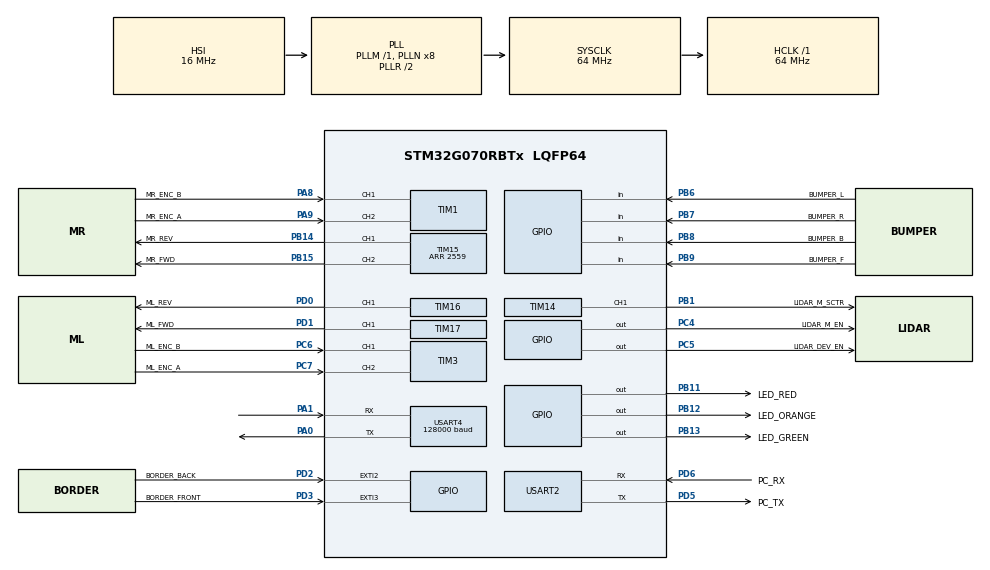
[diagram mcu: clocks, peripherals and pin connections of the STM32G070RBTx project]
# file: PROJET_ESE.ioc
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Dma.Request0=USART4_TX
Dma.Request1=USART4_RX
Dma.USART4_RX.1.Direction=DMA_PERIPH_TO_MEMORY
Dma.USART4_RX.1.EventEnable=DISABLE
Dma.USART4_RX.1.Instance=DMA1_Channel2
Dma.USART4_RX.1.MemDataAlignment=DMA_MDATAALIGN_BYTE
Dma.USART4_RX.1.MemInc=DMA_MINC_ENABLE
Dma.USART4_RX.1.Mode=DMA_NORMAL
Dma.USART4_RX.1.PeriphDataAlignment=DMA_PDATAALIGN_BYTE
Dma.USART4_RX.1.PeriphInc=DMA_PINC_DISABLE
Dma.USART4_RX.1.Polarity=HAL_DMAMUX_REQ_GEN_RISING
Dma.USART4_RX.1.Priority=DMA_PRIORITY_LOW
Dma.USART4_RX.1.RequestNumber=1
Dma.USART4_RX.1.SignalID=NONE
Dma.USART4_RX.1.SyncEnable=DISABLE
Dma.USART4_RX.1.SyncPolarity=HAL_DMAMUX_SYNC_NO_EVENT
Dma.USART4_RX.1.SyncRequestNumber=1
Dma.USART4_RX.1.SyncSignalID=NONE
Dma.USART4_TX.0.Direction=DMA_MEMORY_TO_PERIPH
Dma.USART4_TX.0.EventEnable=DISABLE
Dma.USART4_TX.0.Instance=DMA1_Channel1
Dma.USART4_TX.0.MemDataAlignment=DMA_MDATAALIGN_BYTE
Dma.USART4_TX.0.MemInc=DMA_MINC_ENABLE
Dma.USART4_TX.0.Mode=DMA_NORMAL
Dma.USART4_TX.0.PeriphDataAlignment=DMA_PDATAALIGN_BYTE
Dma.USART4_TX.0.PeriphInc=DMA_PINC_DISABLE
Dma.USART4_TX.0.Polarity=HAL_DMAMUX_REQ_GEN_RISING
Dma.USART4_TX.0.Priority=DMA_PRIORITY_LOW
Dma.USART4_TX.0.RequestNumber=1
Dma.USART4_TX.0.SignalID=NONE
Dma.USART4_TX.0.SyncEnable=DISABLE
Dma.USART4_TX.0.SyncPolarity=HAL_DMAMUX_SYNC_NO_EVENT
Dma.USART4_TX.0.SyncRequestNumber=1
Dma.USART4_TX.0.SyncSignalID=NONE
FREERTOS.Tasks01=defaultTask,0,512,StartDefaultTask,Default,NULL,Dynamic,NULL,NULL
FREERTOS.configGENERATE_RUN_TIME_STATS=1
FREERTOS.configMAX_PRIORITIES=100
FREERTOS.configTOTAL_HEAP_SIZE=15000
FREERTOS.configUSE_TIMERS=1
FREERTOS.configUSE_TRACE_FACILITY=1
Mcu.Family=STM32G0
Mcu.Name=STM32G070RBTx
Mcu.Package=LQFP64
NVIC.DMA1_Channel1_IRQn=true\:3\:0\:false\:false\:true\:true\:false\:true\:true
NVIC.DMA1_Channel2_3_IRQn=true\:3\:0\:false\:false\:true\:true\:false\:true\:true
NVIC.EXTI2_3_IRQn=true\:3\:0\:false\:false\:true\:true\:true\:true\:true
NVIC.TIM6_IRQn=true\:3\:0\:false\:false\:true\:false\:false\:true\:true
NVIC.TimeBase=TIM6_IRQn
NVIC.TimeBaseIP=TIM6
NVIC.USART3_4_IRQn=true\:3\:0\:false\:false\:true\:true\:true\:true\:true
PA0.Mode=Asynchronous
PA0.Signal=USART4_TX
PA1.Mode=Asynchronous
PA1.Signal=USART4_RX
PA13.Mode=Serial_Wire
PA13.Signal=SYS_SWDIO
PA14-BOOT0.Mode=Serial_Wire
PA14-BOOT0.Signal=SYS_SWCLK
PA8.GPIO_Label=MR_ENC_B
PA8.Signal=S_TIM1_CH1
PA9.GPIO_Label=MR_ENC_A
PA9.Signal=S_TIM1_CH2
PB1.GPIO_Label=LIDAR_M_SCTR
PB1.Signal=S_TIM14_CH1
PB11.GPIO_Label=LED_RED
PB11.Signal=GPIO_Output
PB12.GPIO_Label=LED_ORANGE
PB12.Signal=GPIO_Output
PB13.GPIO_Label=LED_GREEN
PB13.Signal=GPIO_Output
PB14.GPIO_Label=MR_REV
PB14.Signal=S_TIM15_CH1
PB15.GPIO_Label=MR_FWD
PB15.Signal=S_TIM15_CH2
PB6.GPIO_Label=BUMPER_L
PB6.GPIO_PuPd=GPIO_PULLDOWN
PB6.Signal=GPIO_Input
PB7.GPIO_Label=BUMPER_R
PB7.GPIO_PuPd=GPIO_PULLDOWN
PB7.Signal=GPIO_Input
PB8.GPIO_Label=BUMPER_B
PB8.GPIO_PuPd=GPIO_PULLDOWN
PB8.Signal=GPIO_Input
PB9.GPIO_Label=BUMPER_F
PB9.GPIO_PuPd=GPIO_PULLDOWN
PB9.Signal=GPIO_Input
PC4.GPIO_Label=LIDAR_M_EN
PC4.GPIO_PuPd=GPIO_PULLUP
PC4.Signal=GPIO_Output
PC5.GPIO_Label=LIDAR_DEV_EN
PC5.GPIO_PuPd=GPIO_PULLUP
PC5.Signal=GPIO_Output
PC6.GPIO_Label=ML_ENC_B
PC6.Signal=S_TIM3_CH1
PC7.GPIO_Label=ML_ENC_A
PC7.Signal=S_TIM3_CH2
PD0.GPIO_Label=ML_REV
PD0.Signal=S_TIM16_CH1
PD1.GPIO_Label=ML_FWD
PD1.Signal=S_TIM17_CH1
PD2.GPIO_Label=BORDER_BACK
PD2.GPIO_PuPd=GPIO_PULLUP
PD2.Signal=GPXTI2
PD3.GPIO_Label=BORDER_FRONT
PD3.GPIO_PuPd=GPIO_PULLDOWN
PD3.Signal=GPXTI3
PD5.GPIO_Label=PC_TX
PD5.Mode=Asynchronous
PD5.Signal=USART2_TX
PD6.GPIO_Label=PC_RX
PD6.Mode=Asynchronous
PD6.Signal=USART2_RX
PF0-OSC_IN\ (PF0).Mode=HSE-External-Oscillator
PF0-OSC_IN\ (PF0).Signal=RCC_OSC_IN
PF1-OSC_OUT\ (PF1).Mode=HSE-External-Oscillator
PF1-OSC_OUT\ (PF1).Signal=RCC_OSC_OUT
ProjectManager.HeapSize=0x200
ProjectManager.StackSize=0x400
ProjectManager.TargetToolchain=STM32CubeIDE
RCC.ADCFreq_Value=64000000
RCC.AHBFreq_Value=64000000
RCC.CortexFreq_Value=64000000
RCC.EXTERNAL_CLOCK_VALUE=48000
RCC.HCLKFreq_Value=64000000
RCC.HSE_VALUE=16000000
RCC.HSI_VALUE=16000000
RCC.LSE_VALUE=32768
RCC.SYSCLKFreq_VALUE=64000000
RCC.SYSCLKSource=RCC_SYSCLKSOURCE_PLLCLK
RCC.VCOOutputFreq_Value=128000000
SH.S_TIM14_CH1.0=TIM14_CH1,PWM Generation1 CH1
SH.S_TIM15_CH1.0=TIM15_CH1,PWM Generation1 CH1
SH.S_TIM15_CH2.0=TIM15_CH2,PWM Generation2 CH2
SH.S_TIM16_CH1.0=TIM16_CH1,Output Compare1 CH1
SH.S_TIM17_CH1.0=TIM17_CH1,Output Compare1 CH1
SH.S_TIM1_CH1.0=TIM1_CH1,Encoder_Interface
SH.S_TIM1_CH2.0=TIM1_CH2,Encoder_Interface
SH.S_TIM3_CH1.0=TIM3_CH1,Encoder_Interface
SH.S_TIM3_CH2.0=TIM3_CH2,Encoder_Interface
TIM14.Channel=TIM_CHANNEL_1
TIM14.Period=99
TIM14.Prescaler=63
TIM15.Channel-PWM\ Generation1\ CH1=TIM_CHANNEL_1
TIM15.Channel-PWM\ Generation2\ CH2=TIM_CHANNEL_2
TIM15.Period=2559
TIM16.Channel=TIM_CHANNEL_1
TIM16.Period=2559
TIM17.Channel=TIM_CHANNEL_1
TIM17.Period=2559
USART2.SwapParam=ADVFEATURE_SWAP_ENABLE
USART2.VirtualMode-Asynchronous=VM_ASYNC
USART4.BaudRate=128000
USART4.SwapParam=ADVFEATURE_SWAP_ENABLE
USART4.VirtualMode-Asynchronous=VM_ASYNC
VP_FREERTOS_VS_CMSIS_V1.Mode=CMSIS_V1
VP_SYS_VS_tim6.Mode=TIM6
VP_TIM14_VS_ClockSourceINT.Mode=Enable_Timer
VP_TIM15_VS_ClockSourceINT.Mode=Internal
VP_TIM16_VS_ClockSourceINT.Mode=Enable_Timer
VP_TIM17_VS_ClockSourceINT.Mode=Enable_Timer
board=custom

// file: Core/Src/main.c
/* USER CODE BEGIN Header */
/**
  ******************************************************************************
  * @file           : main.c
  * @brief          : Main program body
  ******************************************************************************
  * @attention
  *
  * Copyright (c) 2023 STMicroelectronics.
  * All rights reserved.
  *
  * This software is licensed under terms that can be found in the LICENSE file
  * in the root directory of this software component.
  * If no LICENSE file comes with this software, it is provided AS-IS.
  *
  ******************************************************************************
  */
/* USER CODE END Header */
#include "main.h"
#include "cmsis_os.h"
#include "dma.h"
#include "tim.h"
#include "usart.h"
#include "gpio.h"

/* USER CODE BEGIN Includes */
#include <stdio.h>

#include "logger.h"
#include "types.h"
#include "mainTask.h"
#include "pid.h"
#include "pwm.h"
#include "motor_drv.h"
/* USER CODE END Includes */

/* USER CODE BEGIN PV */
// PWM MOTORS
PWM pwm_rev_left  = {.timer = &htim16, .channel = TIM_CHANNEL_1};
PWM pwm_fwd_left  = {.timer = &htim17, .channel = TIM_CHANNEL_1};
PWM pwm_rev_right = {.timer = &htim15, .channel = TIM_CHANNEL_1};
PWM pwm_fwd_right = {.timer = &htim15, .channel = TIM_CHANNEL_2};
// PWM LIDAR
PWM pwm_lidar     = {.timer = &htim14, .channel = TIM_CHANNEL_1};

/* USER CODE END PV */

void SystemClock_Config(void);
void MX_FREERTOS_Init(void);

/* USER CODE BEGIN 0 */
int __io_putchar(int chr)
{
	HAL_UART_Transmit(&huart2, (uint8_t*)&chr, 1, HAL_MAX_DELAY);
	return chr;
}
/* USER CODE END 0 */

int main(void)
{

  /* MCU Configuration--------------------------------------------------------*/

  /* Reset of all peripherals, Initializes the Flash interface and the Systick. */
  HAL_Init();

  /* Configure the system clock */
  SystemClock_Config();

  /* Initialize all configured peripherals */
  MX_GPIO_Init();
  MX_DMA_Init();
  MX_TIM1_Init();
  MX_TIM3_Init();
  MX_TIM14_Init();
  MX_TIM15_Init();
  MX_TIM16_Init();
  MX_TIM17_Init();
  MX_USART2_UART_Init();
  MX_USART4_UART_Init();
  /* USER CODE BEGIN 2 */
	printf("================== boot ================\n");

	// TIMER PWM LIDAR
	if(START_PWM(pwm_lidar) != HAL_OK)
	{
		printf("ERROR: PWM Start LIDAR\r\n");
		Error_Handler();
	}

	// TIMER PWM MOTORS
	if((START_PWM(pwm_rev_left) != HAL_OK) || (START_PWM(pwm_fwd_left) != HAL_OK) ||
			(START_PWM(pwm_rev_right) != HAL_OK) || (START_PWM(pwm_fwd_right) != HAL_OK))
	{
		printf("ERROR: PWM Start MOTORS\r\n");
		Error_Handler();
	}

	// TIMER ENCODEUR MOTORS
	if((HAL_TIM_Encoder_Start(&htim1, TIM_CHANNEL_ALL) != HAL_OK) ||
			(HAL_TIM_Encoder_Start(&htim3, TIM_CHANNEL_ALL) != HAL_OK))
	{
		printf("ERROR: ENCODEUR Start MOTORS\r\n");
		Error_Handler();
	}

	// PID struct init
	initPID(&pid_motor_left, 0.5, 0, 0, TE);
	initPID(&pid_motor_right, 0.5, 0, 0, TE);

	// Motor struct init
	initMotor(&motor_left, &pwm_fwd_left, &pwm_rev_left, &htim3);
	initMotor(&motor_right, &pwm_fwd_right, &pwm_rev_right, &htim1);

	//__HAL_TIM_SET_COMPARE(&htim14, TIM_CHANNEL_1 ,85);

	bool ret = createMainTask();

  /* USER CODE END 2 */

  /* Call init function for freertos objects (in freertos.c) */
  MX_FREERTOS_Init();

  /* Start scheduler */
  osKernelStart();

  /* We should never get here as control is now taken by the scheduler */
  /* Infinite loop */
  while (1)
  {

  }
}

void SystemClock_Config(void)
{
  RCC_OscInitTypeDef RCC_OscInitStruct = {0};
  RCC_ClkInitTypeDef RCC_ClkInitStruct = {0};

  /** Configure the main internal regulator output voltage
  */
  HAL_PWREx_ControlVoltageScaling(PWR_REGULATOR_VOLTAGE_SCALE1);

  /** Initializes the RCC Oscillators according to the specified parameters
  * in the RCC_OscInitTypeDef structure.
  */
  RCC_OscInitStruct.OscillatorType = RCC_OSCILLATORTYPE_HSI;
  RCC_OscInitStruct.HSIState = RCC_HSI_ON;
  RCC_OscInitStruct.HSIDiv = RCC_HSI_DIV1;
  RCC_OscInitStruct.HSICalibrationValue = RCC_HSICALIBRATION_DEFAULT;
  RCC_OscInitStruct.PLL.PLLState = RCC_PLL_ON;
  RCC_OscInitStruct.PLL.PLLSource = RCC_PLLSOURCE_HSI;
  RCC_OscInitStruct.PLL.PLLM = RCC_PLLM_DIV1;
  RCC_OscInitStruct.PLL.PLLN = 8;
  RCC_OscInitStruct.PLL.PLLP = RCC_PLLP_DIV2;
  RCC_OscInitStruct.PLL.PLLR = RCC_PLLR_DIV2;
  if (HAL_RCC_OscConfig(&RCC_OscInitStruct) != HAL_OK)
  {
    Error_Handler();
  }

  /** Initializes the CPU, AHB and APB buses clocks
  */
  RCC_ClkInitStruct.ClockType = RCC_CLOCKTYPE_HCLK|RCC_CLOCKTYPE_SYSCLK
                              |RCC_CLOCKTYPE_PCLK1;
  RCC_ClkInitStruct.SYSCLKSource = RCC_SYSCLKSOURCE_PLLCLK;
  RCC_ClkInitStruct.AHBCLKDivider = RCC_SYSCLK_DIV1;
  RCC_ClkInitStruct.APB1CLKDivider = RCC_HCLK_DIV1;

  if (HAL_RCC_ClockConfig(&RCC_ClkInitStruct, FLASH_LATENCY_2) != HAL_OK)
  {
    Error_Handler();
  }
}

void HAL_TIM_PeriodElapsedCallback(TIM_HandleTypeDef *htim)
{
  if (htim->Instance == TIM6) {
    HAL_IncTick();
  }
}

void Error_Handler(void)
{
  __disable_irq();
  while (1)
  {
  }
}

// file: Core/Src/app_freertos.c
/* USER CODE BEGIN Header */
/**
  ******************************************************************************
  * File Name          : app_freertos.c
  * Description        : Code for freertos applications
  ******************************************************************************
  * @attention
  *
  * Copyright (c) 2023 STMicroelectronics.
  * All rights reserved.
  *
  * This software is licensed under terms that can be found in the LICENSE file
  * in the root directory of this software component.
  * If no LICENSE file comes with this software, it is provided AS-IS.
  *
  ******************************************************************************
  */
/* USER CODE END Header */

#include "FreeRTOS.h"
#include "task.h"
#include "main.h"
#include "cmsis_os.h"

osThreadId defaultTaskHandle;

void StartDefaultTask(void const * argument);

void MX_FREERTOS_Init(void); /* (MISRA C 2004 rule 8.1) */

/* Hook prototypes */
void configureTimerForRunTimeStats(void);
unsigned long getRunTimeCounterValue(void);

/* USER CODE BEGIN 1 */
/* Functions needed when configGENERATE_RUN_TIME_STATS is on */
__weak void configureTimerForRunTimeStats(void)
{

}

__weak unsigned long getRunTimeCounterValue(void)
{
return 0;
}
/* USER CODE END 1 */

void MX_FREERTOS_Init(void) {

  /* Create the thread(s) */
  /* definition and creation of defaultTask */
  osThreadDef(defaultTask, StartDefaultTask, osPriorityNormal, 0, 512);
  defaultTaskHandle = osThreadCreate(osThread(defaultTask), NULL);

}

void StartDefaultTask(void const * argument)
{
  for(;;)
  {
    osDelay(1);
  }
}
